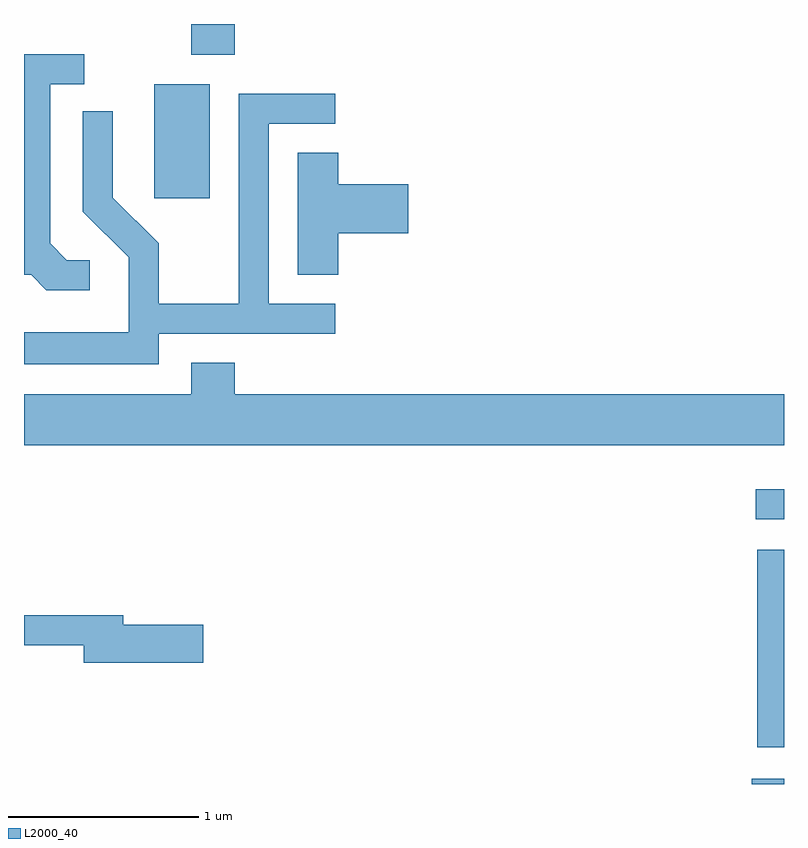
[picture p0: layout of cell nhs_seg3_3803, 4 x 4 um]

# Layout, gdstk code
import gdstk
lib = gdstk.Library(unit=1e-6, precision=1e-09)
def R(c, l, rs):  # rectangles x0, y0, x1, y1
    for r in rs: c.add(gdstk.rectangle(r[:2], r[2:], *l))
def P(c, l, *ps):  # polygons
    for p in ps: c.add(gdstk.Polygon(p, *l))
L2000_40 = (2000, 40)

nhs_seg3_3803 = lib.new_cell('nhs_seg3_3803')
R(nhs_seg3_3803, L2000_40, [(299.441,1241.892,299.611,1241.919), (299.471,1242.086,299.611,1243.124), (299.463,1243.286,299.611,1243.444), (296.296,1244.976,296.589,1245.574), (296.491,1245.731,296.719,1245.892)])
P(nhs_seg3_3803, L2000_40, [(295.958,1244.649),(295.837,1244.649),(295.749,1244.737),(295.749,1245.576),(295.928,1245.576),(295.928,1245.734),(295.611,1245.734),(295.611,1244.571),(295.649,1244.571),(295.729,1244.491),(295.958,1244.491)],
  [(296.319,1244.261),(297.248,1244.261),(297.248,1244.419),(296.899,1244.419),(296.899,1245.366),(297.248,1245.366),(297.248,1245.524),(296.741,1245.524),(296.741,1244.419),(296.319,1244.419),(296.319,1244.737),(296.079,1244.977),(296.079,1245.433),(295.921,1245.433),(295.921,1244.904),(296.161,1244.664),(296.161,1244.269),(295.611,1244.269),(295.611,1244.101),(296.319,1244.101)],
  [(297.264,1244.791),(297.634,1244.791),(297.634,1245.049),(297.264,1245.049),(297.264,1245.214),(297.051,1245.214),(297.051,1244.571),(297.264,1244.571)],
  [(299.611,1243.944),(296.719,1243.944),(296.719,1244.109),(296.491,1244.109),(296.491,1243.944),(295.611,1243.944),(295.611,1243.676),(299.611,1243.676)],
  [(296.554,1242.729),(296.134,1242.729),(296.134,1242.779),(295.611,1242.779),(295.611,1242.621),(295.926,1242.621),(295.926,1242.531),(296.554,1242.531)])

lib.write_gds('nhs_seg3_3803.gds')
